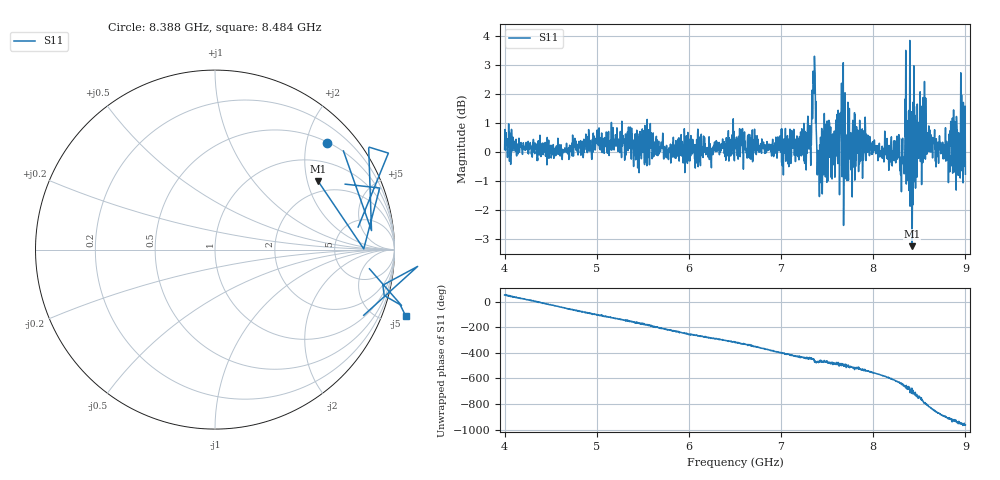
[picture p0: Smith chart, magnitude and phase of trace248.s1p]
! Created with skrf 1.8.0 (http://scikit-rf.org).
# Hz S RI R 50.0
!freq ReS11 ImS11
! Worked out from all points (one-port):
!   1601 points, 4 GHz to 9 GHz, reference 50 ohm
!   lowest |S11| = -3.2 dB at 8.422 GHz (marker M1), VSWR 5.44, Z = 80.8 + j117 ohm
!   |S11| at or under -10 dB: nowhere
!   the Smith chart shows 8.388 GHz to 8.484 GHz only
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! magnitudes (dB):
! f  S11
! 4 GHz  0.1
! 4.625 GHz  -0.3
! 5.25 GHz  0.0
! 5.875 GHz  0.1
! 6.5 GHz  0.1
! 7.125 GHz  0.3
! 7.297 GHz  0.9
! 7.356 GHz  2.6
! 7.412 GHz  -0.4
! 7.512 GHz  0.5
! 7.566 GHz  -0.4
! 7.65 GHz  1.4
! 7.75 GHz  0.0
! 7.828 GHz  0.4
! 8.181 GHz  0.2
! 8.259 GHz  0.6
! 8.312 GHz  0.4
! 8.331 GHz  -0.5
! 8.375 GHz  -1.0
! 8.412 GHz  -1.1
! 8.422 GHz  -3.2
! 8.447 GHz  1.6
! 8.459 GHz  -1.2
! 8.481 GHz  0.7
! 8.531 GHz  1.1
! 8.812 GHz  0.0
! 8.972 GHz  0.4
! 9 GHz  -0.8
